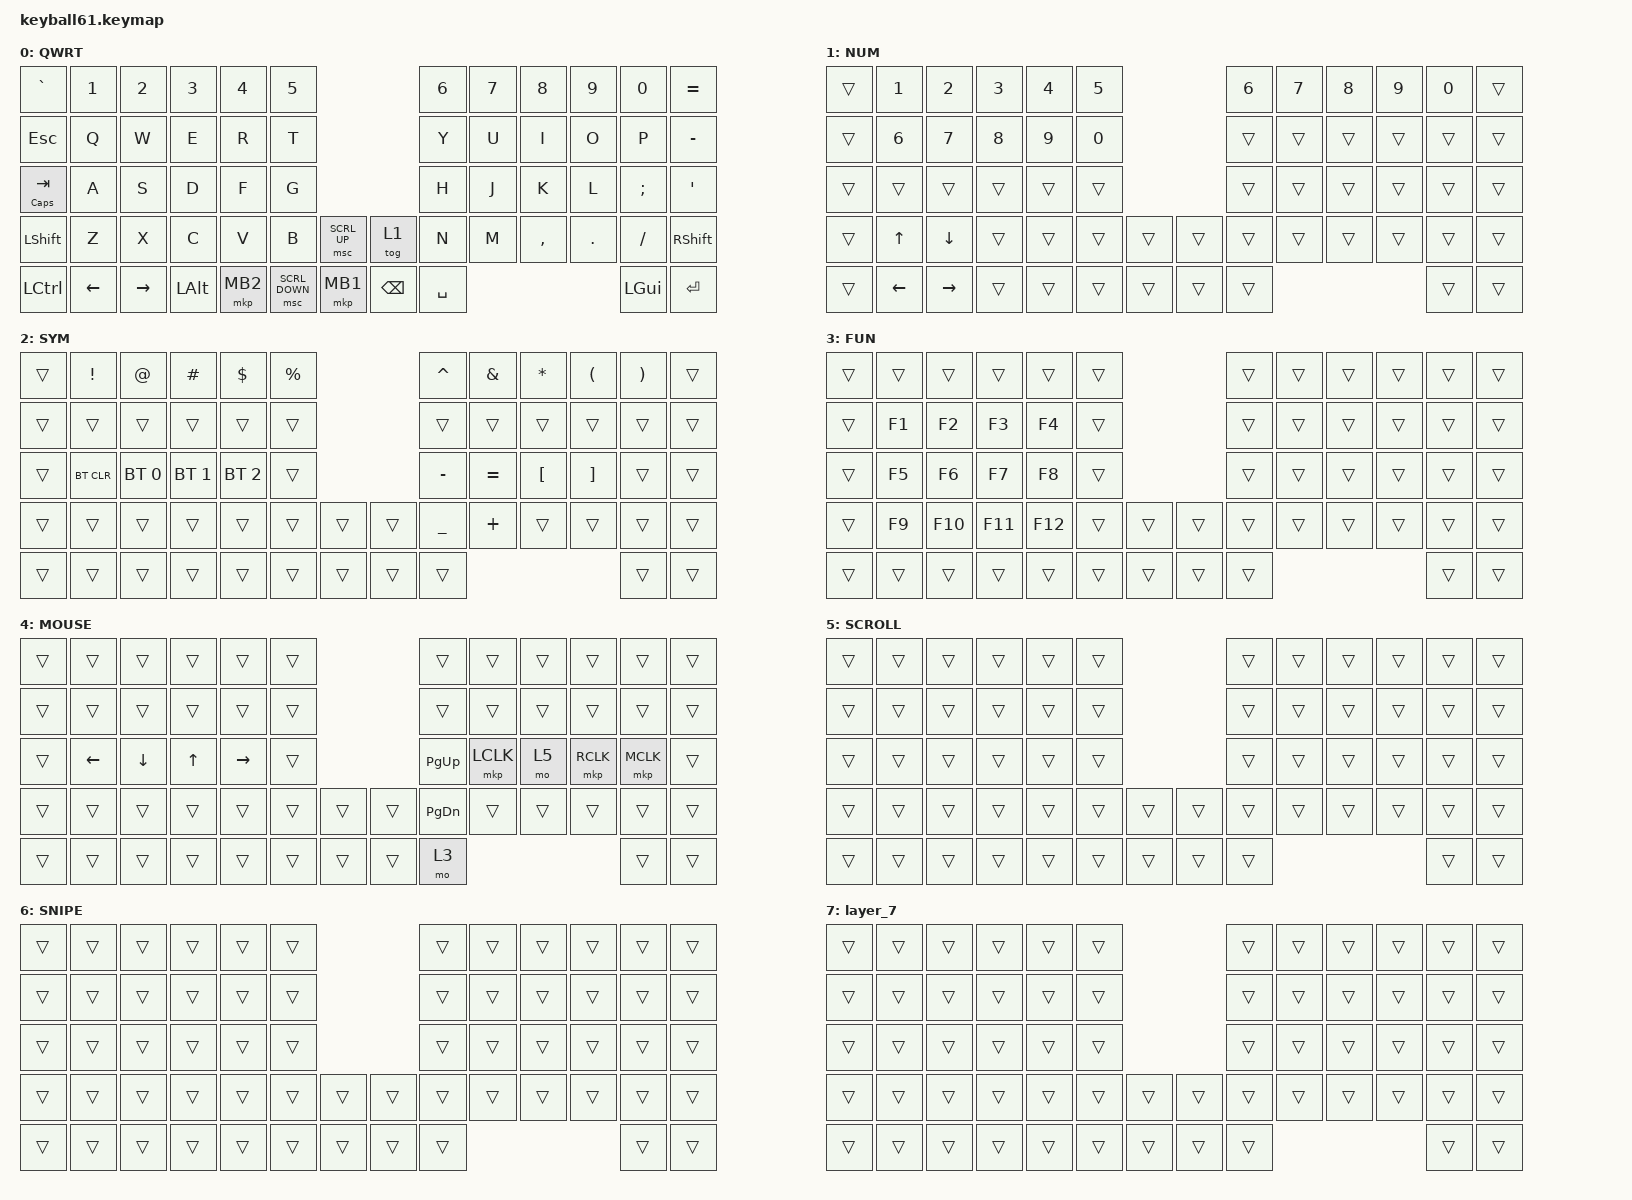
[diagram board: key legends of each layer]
#define DEFAULT 0
#define SYM     1
#define FUN     2
#define MOUSE   3
#define SCROLL  4
#define SNIPE   5

#include <behaviors/mouse_keys.dtsi>
#include <dt-bindings/zmk/mouse.h>
#include <behaviors.dtsi>
#include <dt-bindings/zmk/bt.h>
#include <dt-bindings/zmk/keys.h>
#include <dt-bindings/zmk/pointing.h>

&nice_view_spi { cs-gpios = <&pro_micro 1 GPIO_ACTIVE_HIGH>; };

&lt {
    tapping-term-ms = <240>;
    flavor = "balanced";
    quick-tap-ms = <150>;
};

&mt {
    tapping-term-ms = <200>;
    flavor = "tap-preferred";
    quick-tap-ms = <150>;
};

/ {
    keymap {
        compatible = "zmk,keymap";

        default_layer {
            label = "QWRT";
            bindings = <
&kp GRAVE       &kp N1    &kp N2     &kp N3        &kp N4    &kp N5                                       &kp N6     &kp N7  &kp N8     &kp N9   &kp N0        &kp EQUAL
&kp ESCAPE      &kp Q     &kp W      &kp E         &kp R     &kp T                                        &kp Y      &kp U   &kp I      &kp O    &kp P         &kp MINUS
&mt CAPS TAB    &kp A     &kp S      &kp D         &kp F     &kp G                                        &kp H      &kp J   &kp K      &kp L    &kp SEMI      &kp SQT
&kp LEFT_SHIFT  &kp Z     &kp X      &kp C         &kp V     &kp B           &msc SCRL_UP  &tog 1         &kp N      &kp M   &kp COMMA  &kp DOT  &kp FSLH      &kp RIGHT_SHIFT
&kp LCTRL       &kp LEFT  &kp RIGHT  &kp LEFT_ALT  &mkp MB2  &msc SCRL_DOWN  &mkp MB1      &kp BACKSPACE  &kp SPACE                              &kp LEFT_GUI  &kp ENTER
            >;
        };

        number_layer {
            bindings = <
&trans  &kp N1          &kp N2           &kp N3        &kp N4        &kp N5                        &kp N6  &kp N7  &kp N8  &kp N9  &kp N0  &trans
&trans  &kp NUMBER_6    &kp N7           &kp NUMBER_8  &kp NUMBER_9  &kp NUMBER_0                  &trans  &trans  &trans  &trans  &trans  &trans
&trans  &trans          &trans           &trans        &trans        &trans                        &trans  &trans  &trans  &trans  &trans  &trans
&trans  &kp UP_ARROW    &kp DOWN_ARROW   &trans        &trans        &trans        &trans  &trans  &trans  &trans  &trans  &trans  &trans  &trans
&trans  &kp LEFT_ARROW  &kp RIGHT_ARROW  &trans        &trans        &trans        &trans  &trans  &trans                          &trans  &trans
            >;

            label = "NUM";
        };

        symbol_layer {
            label = "SYM";
            bindings = <
&trans  &kp EXCLAMATION  &kp AT_SIGN   &kp HASH      &kp DOLLAR    &kp PERCENT                  &kp CARET       &kp AMPERSAND  &kp ASTERISK      &kp LEFT_PARENTHESIS  &kp RIGHT_PARENTHESIS  &trans
&trans  &trans           &trans        &trans        &trans        &trans                       &trans          &trans         &trans            &trans                &trans                 &trans
&trans  &bt BT_CLR       &bt BT_SEL 0  &bt BT_SEL 1  &bt BT_SEL 2  &trans                       &kp MINUS       &kp EQUAL      &kp LEFT_BRACKET  &kp RIGHT_BRACKET     &trans                 &trans
&trans  &trans           &trans        &trans        &trans        &trans       &trans  &trans  &kp UNDERSCORE  &kp PLUS       &trans            &trans                &trans                 &trans
&trans  &trans           &trans        &trans        &trans        &trans       &trans  &trans  &trans                                                                 &trans                 &trans
            >;
        };

        function_layer {
            label = "FUN";
            bindings = <
&trans  &trans  &trans   &trans   &trans   &trans                  &trans  &trans  &trans  &trans  &trans  &trans
&trans  &kp F1  &kp F2   &kp F3   &kp F4   &trans                  &trans  &trans  &trans  &trans  &trans  &trans
&trans  &kp F5  &kp F6   &kp F7   &kp F8   &trans                  &trans  &trans  &trans  &trans  &trans  &trans
&trans  &kp F9  &kp F10  &kp F11  &kp F12  &trans  &trans  &trans  &trans  &trans  &trans  &trans  &trans  &trans
&trans  &trans  &trans   &trans   &trans   &trans  &trans  &trans  &trans                          &trans  &trans
            >;
        };

        mouse_layer {
            label = "MOUSE";
            bindings = <
&trans  &trans    &trans    &trans  &trans     &trans                  &trans         &trans     &trans  &trans     &trans     &trans
&trans  &trans    &trans    &trans  &trans     &trans                  &trans         &trans     &trans  &trans     &trans     &trans
&trans  &kp LEFT  &kp DOWN  &kp UP  &kp RIGHT  &trans                  &kp PAGE_UP    &mkp LCLK  &mo 5   &mkp RCLK  &mkp MCLK  &trans
&trans  &trans    &trans    &trans  &trans     &trans  &trans  &trans  &kp PAGE_DOWN  &trans     &trans  &trans     &trans     &trans
&trans  &trans    &trans    &trans  &trans     &trans  &trans  &trans  &mo 3                                        &trans     &trans
            >;
        };

        scroll_layer {
            label = "SCROLL";
            bindings = <
&trans  &trans  &trans  &trans  &trans  &trans                  &trans  &trans  &trans  &trans  &trans  &trans
&trans  &trans  &trans  &trans  &trans  &trans                  &trans  &trans  &trans  &trans  &trans  &trans
&trans  &trans  &trans  &trans  &trans  &trans                  &trans  &trans  &trans  &trans  &trans  &trans
&trans  &trans  &trans  &trans  &trans  &trans  &trans  &trans  &trans  &trans  &trans  &trans  &trans  &trans
&trans  &trans  &trans  &trans  &trans  &trans  &trans  &trans  &trans                          &trans  &trans
            >;
        };

        snipe_layer {
            label = "SNIPE";
            bindings = <
&trans  &trans  &trans  &trans  &trans  &trans                  &trans  &trans  &trans  &trans  &trans  &trans
&trans  &trans  &trans  &trans  &trans  &trans                  &trans  &trans  &trans  &trans  &trans  &trans
&trans  &trans  &trans  &trans  &trans  &trans                  &trans  &trans  &trans  &trans  &trans  &trans
&trans  &trans  &trans  &trans  &trans  &trans  &trans  &trans  &trans  &trans  &trans  &trans  &trans  &trans
&trans  &trans  &trans  &trans  &trans  &trans  &trans  &trans  &trans                          &trans  &trans
            >;
        };

        layer_7 {
            bindings = <
&trans  &trans  &trans  &trans  &trans  &trans                  &trans  &trans  &trans  &trans  &trans  &trans
&trans  &trans  &trans  &trans  &trans  &trans                  &trans  &trans  &trans  &trans  &trans  &trans
&trans  &trans  &trans  &trans  &trans  &trans                  &trans  &trans  &trans  &trans  &trans  &trans
&trans  &trans  &trans  &trans  &trans  &trans  &trans  &trans  &trans  &trans  &trans  &trans  &trans  &trans
&trans  &trans  &trans  &trans  &trans  &trans  &trans  &trans  &trans                          &trans  &trans
            >;
        };
    };
};
